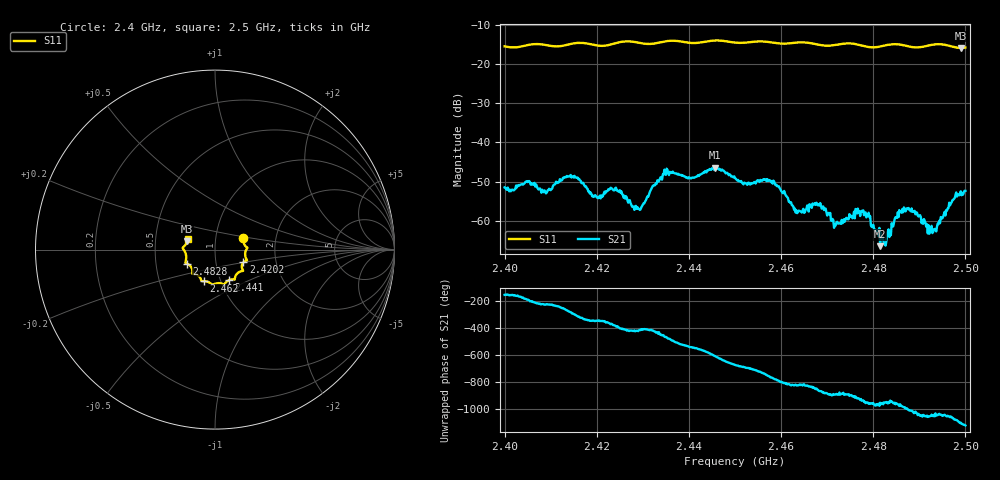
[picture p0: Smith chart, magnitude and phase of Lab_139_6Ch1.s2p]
# Hz S RI R 50
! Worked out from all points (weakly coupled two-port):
!   601 points, 2.4 GHz to 2.5 GHz, reference 50 ohm
!   highest |S21| = -46.49 dB at 2.4457 GHz (marker M1); lowest = -66.5 dB at 2.4815 GHz (marker M2)
!   lowest |S11| = -15.8 dB at 2.499 GHz (marker M3), VSWR 1.39, Z = 36.5 + j3.48 ohm
!   |S11| at or under -10 dB: start of sweep to end of sweep
!   S12 and S22 are empty: the file has one direction only
!   S11 on the Smith chart (normalised r, x): 2.4 GHz: 1.36, +0.18; 2.4202 GHz: 1.36, -0.20; 2.441 GHz: 1.10, -0.39; 2.462 GHz: 0.84, -0.30; 2.4828 GHz: 0.72, -0.12; 2.5 GHz: 0.73, +0.09
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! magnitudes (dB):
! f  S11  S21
! 2.4 GHz  -15.4  -51.5
! 2.4167 GHz  -14.5  -50.4
! 2.4202 GHz  -15.2  -54.0
! 2.4245 GHz  -14.5  -52.3
! 2.4292 GHz  -14.5  -57.0
! 2.4333 GHz  -14.5  -50.0
! 2.435 GHz  -14.1  -48.3
! 2.441 GHz  -14.6  -49.0
! 2.4457 GHz  -13.9  -46.5
! 2.45 GHz  -14.5  -49.1
! 2.458 GHz  -14.4  -49.9
! 2.462 GHz  -14.6  -55.5
! 2.4667 GHz  -14.6  -56.7
! 2.472 GHz  -15.0  -60.5
! 2.4778 GHz  -15.3  -57.4
! 2.4815 GHz  -15.5  -66.5
! 2.4828 GHz  -15.1  -65.4
! 2.4833 GHz  -15.0  -62.2
! 2.4872 GHz  -15.3  -57.2
! 2.4933 GHz  -14.9  -62.1
! 2.499 GHz  -15.8  -52.5
! 2.5 GHz  -15.7  -52.4
